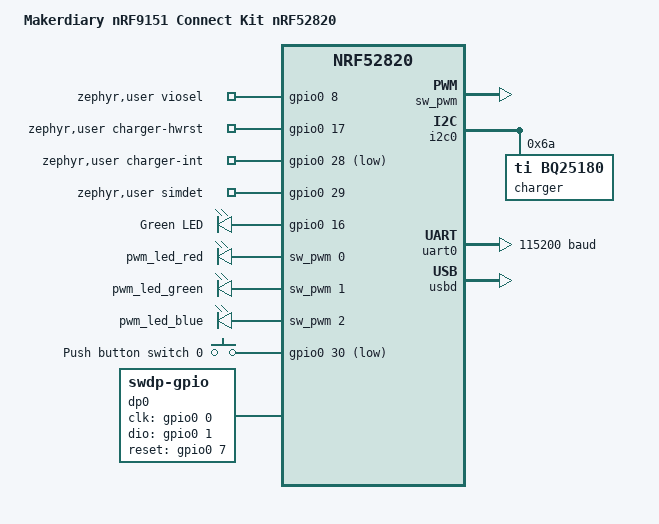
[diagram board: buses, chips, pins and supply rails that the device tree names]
/*
 * Copyright (c) 2020 Nordic Semiconductor ASA
 * Copyright (c) 2016-2025 Makerdiary <https://makerdiary.com>
 *
 * SPDX-License-Identifier: Apache-2.0
 */

/dts-v1/;
#include <nordic/nrf52820_qdaa.dtsi>
#include "nrf9151_connectkit_nrf52820-pinctrl.dtsi"
#include <zephyr/dt-bindings/input/input-event-codes.h>

/ {
	model = "Makerdiary nRF9151 Connect Kit nRF52820";
	compatible = "makerdiary,nrf9151-connectkit-nrf52820";

	chosen {
		zephyr,sram = &sram0;
		zephyr,flash = &flash0;
		zephyr,code-partition = &code_partition;
		zephyr,shell-uart = &cdc_acm_uart1;
	};

	zephyr,user {
		viosel-gpios = <&gpio0 8 GPIO_ACTIVE_HIGH>;
		charger-hwrst-gpios = <&gpio0 17 GPIO_ACTIVE_HIGH>;
		charger-int-gpios = <&gpio0 28 (GPIO_PULL_UP | GPIO_ACTIVE_LOW)>;
		simdet-gpios = <&gpio0 29 (GPIO_PULL_UP | GPIO_ACTIVE_HIGH)>;
	};

	leds {
		compatible = "gpio-leds";
		led0: led_0 {
			gpios = <&gpio0 16 GPIO_ACTIVE_HIGH>;
			label = "Green LED";
		};
	};

	pwmleds {
		compatible = "pwm-leds";
		pwm_led_red: pwm_led_red {
			pwms = <&sw_pwm 0 PWM_MSEC(10) PWM_POLARITY_NORMAL>;
		};
		pwm_led_green: pwm_led_green {
			pwms = <&sw_pwm 1 PWM_MSEC(10) PWM_POLARITY_NORMAL>;
		};
		pwm_led_blue: pwm_led_blue {
			pwms = <&sw_pwm 2 PWM_MSEC(10) PWM_POLARITY_NORMAL>;
		};
	};

	buttons {
		compatible = "gpio-keys";
		button0: button_0 {
			gpios = <&gpio0 30 (GPIO_PULL_UP | GPIO_ACTIVE_LOW)>;
			label = "Push button switch 0";
			zephyr,code = <INPUT_KEY_0>;
		};
	};

	dp0 {
		compatible = "zephyr,swdp-gpio";
		status = "okay";
		clk-gpios = <&gpio0 0 GPIO_ACTIVE_HIGH>;
		dio-gpios = <&gpio0 1 GPIO_PULL_UP>;
		reset-gpios = <&gpio0 7 GPIO_ACTIVE_HIGH>;
		port-write-cycles = <2>;
	};

	/* These aliases are provided for compatibility with samples */
	aliases {
		die-temp = &temp;
		led0 = &led0;
		sw0 = &button0;
		bootloader-led0 = &led0;
		mcuboot-button0 = &button0;
		mcuboot-led0 = &led0;
		watchdog0 = &wdt0;
	};
};

&sw_pwm {
	status ="okay";
	channel-gpios = <&gpio0 20 GPIO_ACTIVE_HIGH>,
					<&gpio0 15 GPIO_ACTIVE_HIGH>,
					<&gpio0 14 GPIO_ACTIVE_HIGH>;
	clock-prescaler = <8>;
};

&reg1 {
	regulator-initial-mode = <NRF5X_REG_MODE_DCDC>;
};

&uicr {
	gpio-as-nreset;
};

&gpiote {
	status = "okay";
};

&gpio0 {
	status = "okay";
};

&i2c0 {
	compatible = "nordic,nrf-twi";
	status = "okay";
	pinctrl-0 = <&i2c0_default>;
	pinctrl-1 = <&i2c0_sleep>;
	pinctrl-names = "default", "sleep";

	charger: bq25180@6a {
		compatible = "ti,bq25180";
		reg = <0x6a>;
		constant-charge-current-max-microamp = <100000>;
		constant-charge-voltage-max-microvolt = <4200000>;
		re-charge-voltage-microvolt = <4000000>;
	};
};

&uart0 {
	compatible = "nordic,nrf-uarte";
	status = "okay";
	current-speed = <115200>;
	pinctrl-0 = <&uart0_default>;
	pinctrl-1 = <&uart0_sleep>;
	pinctrl-names = "default", "sleep";
};

&flash0 {
	partitions {
		compatible = "fixed-partitions";
		#address-cells = <1>;
		#size-cells = <1>;

		/* Application placed after Nordic MBR.
		 */
		mbr_partition: partition@0 {
			label = "mbr";
			reg = <0x000000000 DT_SIZE_K(4)>;
		};
		code_partition: partition@1000 {
			label = "app";
			reg = <0x00001000 DT_SIZE_K(180)>;
		};
		storage_partition: partition@2E000 {
			label = "storage";
			reg = <0x0002E000 DT_SIZE_K(24)>;
		};
		/* UF2 bootloader <0x34000 DT_SIZE_K(40)>
		 * MBR params page <0x3E000 DT_SIZE_K(4)>
		 * Bootloader settings page <0x3F000 DT_SIZE_K(4)>
		 */
		uf2boot_partition: partition@34000 {
			label = "uf2boot";
			read-only;
			reg = <0x00034000 DT_SIZE_K(48)>;
		};
	};
};

zephyr_udc0: &usbd {
	compatible = "nordic,nrf-usbd";
	status = "okay";

	cdc_acm_uart0: cdc_acm_uart0 {
		compatible = "zephyr,cdc-acm-uart";
	};

	cdc_acm_uart1: cdc_acm_uart1 {
		compatible = "zephyr,cdc-acm-uart";
	};
};
